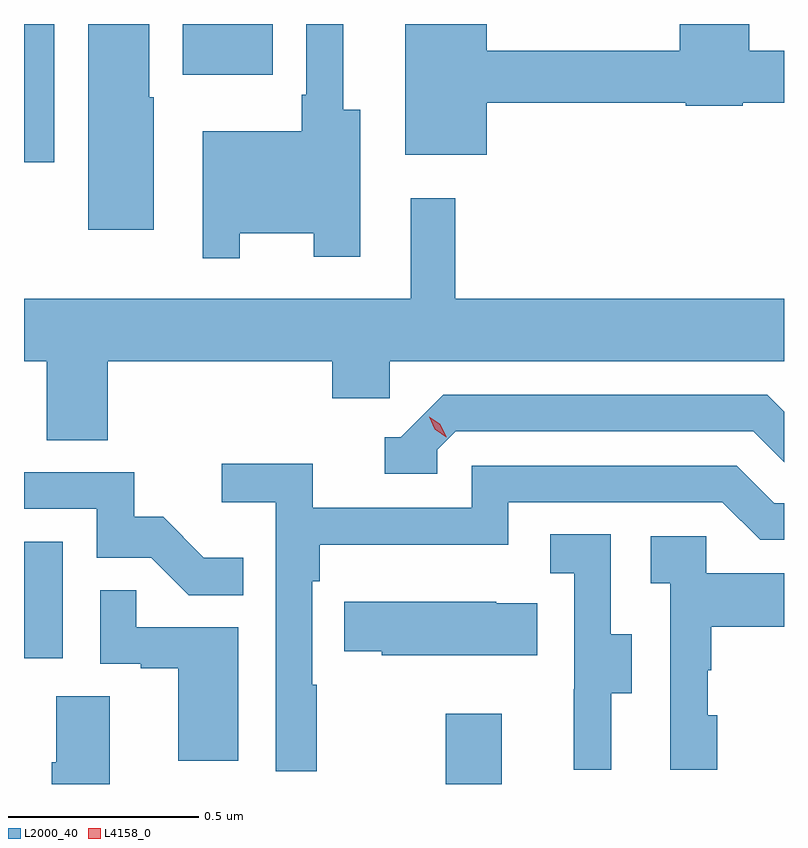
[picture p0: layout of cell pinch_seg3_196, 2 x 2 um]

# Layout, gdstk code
import gdstk
lib = gdstk.Library(unit=1e-6, precision=1e-09)
def R(c, l, rs):  # rectangles x0, y0, x1, y1
    for r in rs: c.add(gdstk.rectangle(r[:2], r[2:], *l))
def P(c, l, *ps):  # polygons
    for p in ps: c.add(gdstk.Polygon(p, *l))
L2000_40 = (2000, 40)
L4158_0 = (4158, 0)

pinch_seg3_196 = lib.new_cell('pinch_seg3_196')
R(pinch_seg3_196, L2000_40, [(977.902,745.091,978.049,745.276), (976.792,745.422,976.894,745.729), (976.792,746.727,976.872,747.091), (977.21,746.957,977.446,747.091)])
P(pinch_seg3_196, L2000_40, [(977.36,746.54),(977.555,746.54),(977.555,746.478),(977.677,746.478),(977.677,746.866),(977.632,746.866),(977.632,747.091),(977.535,747.091),(977.535,746.905),(977.523,746.905),(977.523,746.809),(977.262,746.809),(977.262,746.475),(977.36,746.475)],
  [(978.01,746.884),(978.534,746.884),(978.534,746.876),(978.684,746.876),(978.684,746.884),(978.792,746.884),(978.792,747.02),(978.701,747.02),(978.701,747.091),(978.518,747.091),(978.518,747.02),(978.01,747.02),(978.01,747.091),(977.795,747.091),(977.795,746.747),(978.01,746.747)],
  [(977.134,746.898),(977.122,746.898),(977.122,747.091),(976.961,747.091),(976.961,746.55),(977.134,746.55)],
  [(977.012,746.204),(977.603,746.204),(977.603,746.106),(977.754,746.106),(977.754,746.204),(978.792,746.204),(978.792,746.368),(977.927,746.368),(977.927,746.632),(977.81,746.632),(977.81,746.368),(976.792,746.368),(976.792,746.204),(976.852,746.204),(976.852,745.996),(977.012,745.996)],
  [(977.88,745.971),(977.928,746.019),(978.711,746.019),(978.792,745.938),(978.792,746.071),(978.748,746.115),(977.895,746.115),(977.784,746.004),(977.741,746.004),(977.741,745.908),(977.88,745.908)],
  [(977.563,745.352),(977.55,745.352),(977.55,745.625),(977.57,745.625),(977.57,745.721),(978.066,745.721),(978.066,745.833),(978.63,745.833),(978.729,745.734),(978.792,745.734),(978.792,745.83),(978.766,745.83),(978.667,745.929),(977.97,745.929),(977.97,745.818),(977.552,745.818),(977.552,745.934),(977.313,745.934),(977.313,745.832),(977.454,745.832),(977.454,745.125),(977.563,745.125)],
  [(977.369,745.687),(977.265,745.687),(977.158,745.794),(977.082,745.794),(977.082,745.911),(976.792,745.911),(976.792,745.815),(976.983,745.815),(976.983,745.686),(977.127,745.686),(977.225,745.588),(977.369,745.588)],
  [(978.337,745.33),(978.391,745.33),(978.391,745.485),(978.336,745.485),(978.336,745.748),(978.177,745.748),(978.177,745.645),(978.24,745.645),(978.24,745.341),(978.239,745.341),(978.239,745.128),(978.337,745.128)],
  [(978.616,745.272),(978.591,745.272),(978.591,745.391),(978.601,745.391),(978.601,745.505),(978.792,745.505),(978.792,745.645),(978.588,745.645),(978.588,745.743),(978.441,745.743),(978.441,745.619),(978.492,745.619),(978.492,745.128),(978.616,745.128)],
  [(977.356,745.503),(977.087,745.503),(977.087,745.601),(976.992,745.601),(976.992,745.407),(977.099,745.407),(977.099,745.395),(977.198,745.395),(977.198,745.152),(977.356,745.152)],
  [(978.143,745.567),(978.035,745.567),(978.035,745.57),(977.635,745.57),(977.635,745.441),(977.733,745.441),(977.733,745.43),(978.143,745.43)],
  [(977.017,745.322),(976.877,745.322),(976.877,745.148),(976.865,745.148),(976.865,745.091),(977.017,745.091)])
P(pinch_seg3_196, L4158_0, [(977.903,746.004),(977.873,746.025),(977.858,746.057),(977.858,746.058),(977.858,746.058),(977.888,746.038),(977.903,746.005),(977.903,746.004)])

lib.write_gds('pinch_seg3_196.gds')
